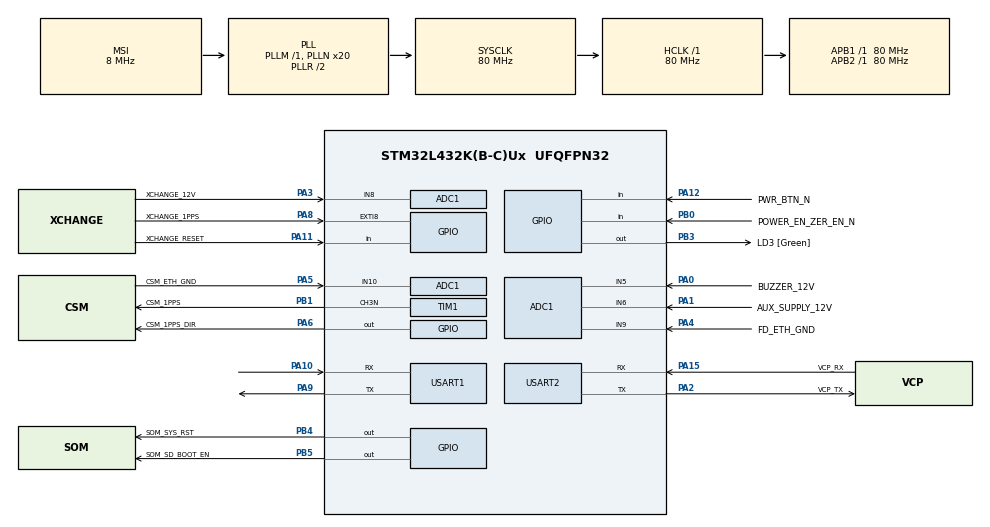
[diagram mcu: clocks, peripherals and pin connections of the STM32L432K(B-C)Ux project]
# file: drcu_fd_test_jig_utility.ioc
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ADC1.Channel-0\#ChannelRegularConversion=ADC_CHANNEL_5
ADC1.Channel-1\#ChannelRegularConversion=ADC_CHANNEL_6
ADC1.Channel-2\#ChannelRegularConversion=ADC_CHANNEL_8
ADC1.Channel-3\#ChannelRegularConversion=ADC_CHANNEL_9
ADC1.Channel-4\#ChannelRegularConversion=ADC_CHANNEL_10
ADC1.Channel-5\#ChannelRegularConversion=ADC_CHANNEL_VREFINT
ADC1.ContinuousConvMode=DISABLE
ADC1.NbrOfConversion=6
ADC1.NbrOfConversionFlag=1
ADC1.OffsetNumber-0\#ChannelRegularConversion=ADC_OFFSET_NONE
ADC1.OffsetNumber-1\#ChannelRegularConversion=ADC_OFFSET_NONE
ADC1.OffsetNumber-2\#ChannelRegularConversion=ADC_OFFSET_NONE
ADC1.OffsetNumber-3\#ChannelRegularConversion=ADC_OFFSET_NONE
ADC1.OffsetNumber-4\#ChannelRegularConversion=ADC_OFFSET_NONE
ADC1.OffsetNumber-5\#ChannelRegularConversion=ADC_OFFSET_NONE
ADC1.Rank-0\#ChannelRegularConversion=1
ADC1.Rank-1\#ChannelRegularConversion=2
ADC1.Rank-2\#ChannelRegularConversion=3
ADC1.Rank-3\#ChannelRegularConversion=4
ADC1.Rank-4\#ChannelRegularConversion=5
ADC1.Rank-5\#ChannelRegularConversion=6
ADC1.SamplingTime-0\#ChannelRegularConversion=ADC_SAMPLETIME_92CYCLES_5
ADC1.SamplingTime-1\#ChannelRegularConversion=ADC_SAMPLETIME_92CYCLES_5
ADC1.SamplingTime-2\#ChannelRegularConversion=ADC_SAMPLETIME_92CYCLES_5
ADC1.SamplingTime-3\#ChannelRegularConversion=ADC_SAMPLETIME_92CYCLES_5
ADC1.SamplingTime-4\#ChannelRegularConversion=ADC_SAMPLETIME_92CYCLES_5
ADC1.SamplingTime-5\#ChannelRegularConversion=ADC_SAMPLETIME_92CYCLES_5
ADC1.master=1
Dma.ADC1.2.Direction=DMA_PERIPH_TO_MEMORY
Dma.ADC1.2.Instance=DMA2_Channel3
Dma.ADC1.2.MemDataAlignment=DMA_MDATAALIGN_HALFWORD
Dma.ADC1.2.MemInc=DMA_MINC_ENABLE
Dma.ADC1.2.Mode=DMA_NORMAL
Dma.ADC1.2.PeriphDataAlignment=DMA_PDATAALIGN_HALFWORD
Dma.ADC1.2.PeriphInc=DMA_PINC_DISABLE
Dma.ADC1.2.Priority=DMA_PRIORITY_LOW
Dma.Request0=USART2_RX
Dma.Request1=USART2_TX
Dma.Request2=ADC1
Dma.Request3=USART1_RX
Dma.Request4=USART1_TX
Dma.USART1_RX.3.Direction=DMA_PERIPH_TO_MEMORY
Dma.USART1_RX.3.Instance=DMA1_Channel5
Dma.USART1_RX.3.MemDataAlignment=DMA_MDATAALIGN_BYTE
Dma.USART1_RX.3.MemInc=DMA_MINC_ENABLE
Dma.USART1_RX.3.Mode=DMA_CIRCULAR
Dma.USART1_RX.3.PeriphDataAlignment=DMA_PDATAALIGN_BYTE
Dma.USART1_RX.3.PeriphInc=DMA_PINC_DISABLE
Dma.USART1_RX.3.Priority=DMA_PRIORITY_HIGH
Dma.USART1_TX.4.Direction=DMA_MEMORY_TO_PERIPH
Dma.USART1_TX.4.Instance=DMA1_Channel4
Dma.USART1_TX.4.MemDataAlignment=DMA_MDATAALIGN_BYTE
Dma.USART1_TX.4.MemInc=DMA_MINC_ENABLE
Dma.USART1_TX.4.Mode=DMA_NORMAL
Dma.USART1_TX.4.PeriphDataAlignment=DMA_PDATAALIGN_BYTE
Dma.USART1_TX.4.PeriphInc=DMA_PINC_DISABLE
Dma.USART1_TX.4.Priority=DMA_PRIORITY_MEDIUM
Dma.USART2_RX.0.Direction=DMA_PERIPH_TO_MEMORY
Dma.USART2_RX.0.Instance=DMA1_Channel6
Dma.USART2_RX.0.MemDataAlignment=DMA_MDATAALIGN_BYTE
Dma.USART2_RX.0.MemInc=DMA_MINC_ENABLE
Dma.USART2_RX.0.Mode=DMA_CIRCULAR
Dma.USART2_RX.0.PeriphDataAlignment=DMA_PDATAALIGN_BYTE
Dma.USART2_RX.0.PeriphInc=DMA_PINC_DISABLE
Dma.USART2_RX.0.Priority=DMA_PRIORITY_HIGH
Dma.USART2_TX.1.Direction=DMA_MEMORY_TO_PERIPH
Dma.USART2_TX.1.Instance=DMA1_Channel7
Dma.USART2_TX.1.MemDataAlignment=DMA_MDATAALIGN_BYTE
Dma.USART2_TX.1.MemInc=DMA_MINC_ENABLE
Dma.USART2_TX.1.Mode=DMA_NORMAL
Dma.USART2_TX.1.PeriphDataAlignment=DMA_PDATAALIGN_BYTE
Dma.USART2_TX.1.PeriphInc=DMA_PINC_DISABLE
Dma.USART2_TX.1.Priority=DMA_PRIORITY_MEDIUM
FREERTOS.BinarySemaphores01=uart1TxSemaphore,Static,uart1TxSemaphoreControlBlock;uart2TxSemaphore,Static,uart2TxSemaphoreControlBlock;iotAdcSemaphore,Static,iotAdcSemaphoreControlBlock
FREERTOS.Queues01=serialCmdRxData,128,uint8_t,0,Static,serialCmdRxDataBuffer,serialCmdRxDataControlBlock;serialCmdTxData,1024,uint8_t,0,Static,serialCmdTxDataBuffer,serialCmdTxDataControlBlock;serialEchoRxData,128,uint8_t,0,Static,serialEchoRxDataBuffer,serialEchoRxDataControlBlock;serialEchoTxData,128,uint8_t,0,Static,serialEchoTxDataBuffer,serialEchoTxDataControlBlock
FREERTOS.Tasks01=defaultTask,0,128,StartDefaultTask,Default,NULL,Static,defaultTaskBuffer,defaultTaskControlBlock;serialBufferTask,0,256,sbt_SerialBufferTask,As external,NULL,Static,serialBufferTaskBuffer,serialBufferTaskControlBlock;ioTask,-2,256,iot_IoTask,As external,NULL,Static,ioTaskBuffer,ioTaskControlBlock;serialCmdTask,0,512,sct_SerialCmdTask,As external,NULL,Static,serialCmdTaskBuffer,serialCmdTaskControlBlock
FREERTOS.configMAX_TASK_NAME_LEN=32
FREERTOS.configTOTAL_HEAP_SIZE=1024
Mcu.Family=STM32L4
Mcu.Name=STM32L432K(B-C)Ux
Mcu.Package=UFQFPN32
NVIC.DMA1_Channel4_IRQn=true\:0\:0\:false\:false\:true\:true\:false\:true
NVIC.DMA1_Channel5_IRQn=true\:0\:0\:false\:false\:true\:true\:false\:true
NVIC.DMA1_Channel6_IRQn=true\:5\:0\:true\:false\:true\:true\:false\:false
NVIC.DMA1_Channel7_IRQn=true\:5\:0\:true\:false\:true\:true\:false\:false
NVIC.DMA2_Channel3_IRQn=true\:5\:0\:true\:false\:true\:true\:false\:true
NVIC.EXTI9_5_IRQn=true\:5\:0\:true\:false\:true\:false\:true\:true
NVIC.PriorityGroup=NVIC_PRIORITYGROUP_4
NVIC.TIM1_BRK_TIM15_IRQn=true\:0\:0\:false\:false\:true\:false\:false\:true
NVIC.TIM1_UP_TIM16_IRQn=true\:5\:0\:true\:false\:true\:false\:false\:true
NVIC.TimeBase=TIM1_BRK_TIM15_IRQn
NVIC.TimeBaseIP=TIM15
NVIC.USART1_IRQn=true\:5\:0\:true\:false\:true\:true\:true\:true
NVIC.USART2_IRQn=true\:5\:0\:true\:false\:true\:false\:true\:false
PA0.GPIO_Label=BUZZER_12V
PA0.Signal=ADCx_IN5
PA1.GPIO_Label=AUX_SUPPLY_12V
PA1.Signal=ADCx_IN6
PA10.Mode=Asynchronous
PA10.Signal=USART1_RX
PA11.GPIO_Label=XCHANGE_RESET
PA11.Signal=GPIO_Input
PA12.GPIO_Label=PWR_BTN_N
PA12.Signal=GPIO_Input
PA13\ (JTMS-SWDIO).GPIO_Label=SWDIO
PA13\ (JTMS-SWDIO).Mode=Serial_Wire
PA13\ (JTMS-SWDIO).Signal=SYS_JTMS-SWDIO
PA14\ (JTCK-SWCLK).GPIO_Label=SWCLK
PA14\ (JTCK-SWCLK).Mode=Serial_Wire
PA14\ (JTCK-SWCLK).Signal=SYS_JTCK-SWCLK
PA15\ (JTDI).GPIO_Label=VCP_RX
PA15\ (JTDI).Mode=Asynchronous
PA15\ (JTDI).Signal=USART2_RX
PA2.GPIO_Label=VCP_TX
PA2.Mode=Asynchronous
PA2.Signal=USART2_TX
PA3.GPIO_Label=XCHANGE_12V
PA3.Signal=ADCx_IN8
PA4.GPIO_Label=FD_ETH_GND
PA4.Signal=ADCx_IN9
PA5.GPIO_Label=CSM_ETH_GND
PA5.Signal=ADCx_IN10
PA6.GPIO_Label=CSM_1PPS_DIR
PA6.PinState=GPIO_PIN_SET
PA6.Signal=GPIO_Output
PA8.GPIO_Label=XCHANGE_1PPS
PA8.Signal=GPXTI8
PA9.Mode=Asynchronous
PA9.Signal=USART1_TX
PB0.GPIO_Label=POWER_EN_ZER_EN_N
PB0.Signal=GPIO_Input
PB1.GPIO_Label=CSM_1PPS
PB1.Mode=PWM Generation3 CH3N
PB1.Signal=TIM1_CH3N
PB3\ (JTDO-TRACESWO).GPIO_Label=LD3 [Green]
PB3\ (JTDO-TRACESWO).Signal=GPIO_Output
PB4\ (NJTRST).GPIO_Label=SOM_SYS_RST
PB4\ (NJTRST).PinState=GPIO_PIN_SET
PB4\ (NJTRST).Signal=GPIO_Output
PB5.GPIO_Label=SOM_SD_BOOT_EN
PB5.Signal=GPIO_Output
PC14-OSC32_IN\ (PC14).Mode=LSE-External-Oscillator
PC14-OSC32_IN\ (PC14).Signal=RCC_OSC32_IN
PC15-OSC32_OUT\ (PC15).Mode=LSE-External-Oscillator
PC15-OSC32_OUT\ (PC15).Signal=RCC_OSC32_OUT
ProjectManager.HeapSize=0x200
ProjectManager.StackSize=0x400
ProjectManager.TargetToolchain=STM32CubeIDE
RCC.ADCFreq_Value=32000000
RCC.AHBFreq_Value=80000000
RCC.APB1Freq_Value=80000000
RCC.APB1TimFreq_Value=80000000
RCC.APB2Freq_Value=80000000
RCC.APB2TimFreq_Value=80000000
RCC.CortexFreq_Value=80000000
RCC.HCLKFreq_Value=80000000
RCC.HSE_VALUE=8000000
RCC.HSI16_VALUE=16000000
RCC.HSI48_VALUE=48000000
RCC.HSI_VALUE=16000000
RCC.MSIClockRange=RCC_MSIRANGE_7
RCC.MSI_VALUE=8000000
RCC.PLLMUL=RCC_PLLMUL_4
RCC.PLLN=20
RCC.SYSCLKFreq_VALUE=80000000
RCC.SYSCLKSource=RCC_SYSCLKSOURCE_PLLCLK
RCC.USBFreq_Value=32000000
RCC.VCOOutputFreq_Value=160000000
SH.ADCx_IN10.0=ADC1_IN10,IN10-Single-Ended
SH.ADCx_IN5.0=ADC1_IN5,IN5-Single-Ended
SH.ADCx_IN6.0=ADC1_IN6,IN6-Single-Ended
SH.ADCx_IN8.0=ADC1_IN8,IN8-Single-Ended
SH.ADCx_IN9.0=ADC1_IN9,IN9-Single-Ended
TIM1.Channel-PWM\ Generation3\ CH3N=TIM_CHANNEL_3
TIM1.OCFastMode_PWM-PWM\ Generation3\ CH3N=TIM_OCFAST_ENABLE
TIM1.Period=10000
TIM1.Prescaler=8000
TIM1.Pulse-PWM\ Generation3\ CH3N=100
USART1.VirtualMode-Asynchronous=VM_ASYNC
USART2.VirtualMode-Asynchronous=VM_ASYNC
VP_ADC1_Vref_Input.Mode=IN-Vrefint
VP_FREERTOS_VS_CMSIS_V1.Mode=CMSIS_V1
VP_SYS_VS_tim15.Mode=TIM15
board=NUCLEO-L432KC

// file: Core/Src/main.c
/* USER CODE BEGIN Header */
/**
  ******************************************************************************
  * @file           : main.c
  * @brief          : Main program body
  ******************************************************************************
  * @attention
  *
  * <h2><center>&copy; Copyright (c) 2023 STMicroelectronics.
  * All rights reserved.</center></h2>
  *
  * This software component is licensed by ST under BSD 3-Clause license,
  * the "License"; You may not use this file except in compliance with the
  * License. You may obtain a copy of the License at:
  *                        opensource.org/licenses/BSD-3-Clause
  *
  ******************************************************************************
  */
/* USER CODE END Header */
#include "main.h"
#include "cmsis_os.h"

/* USER CODE BEGIN Includes */
#include <string.h>
#include "io_task.h"
#include "serial_buffer_task.h"
#include "serial_cmd_task.h"
/* USER CODE END Includes */

TIM_HandleTypeDef htim1;

UART_HandleTypeDef huart1;
DMA_HandleTypeDef hdma_usart1_rx;
DMA_HandleTypeDef hdma_usart1_tx;

osThreadId defaultTaskHandle;
uint32_t defaultTaskBuffer[ 128 ];
osStaticThreadDef_t defaultTaskControlBlock;
osThreadId serialBufferTaskHandle;
uint32_t serialBufferTaskBuffer[ 256 ];
osStaticThreadDef_t serialBufferTaskControlBlock;
osThreadId ioTaskHandle;
uint32_t ioTaskBuffer[ 256 ];
osStaticThreadDef_t ioTaskControlBlock;
osThreadId serialCmdTaskHandle;
uint32_t serialCmdTaskBuffer[ 512 ];
osStaticThreadDef_t serialCmdTaskControlBlock;
osMessageQId serialCmdRxDataHandle;
uint8_t serialCmdRxDataBuffer[ 128 * sizeof( uint8_t ) ];
osStaticMessageQDef_t serialCmdRxDataControlBlock;
osMessageQId serialCmdTxDataHandle;
uint8_t serialCmdTxDataBuffer[ 1024 * sizeof( uint8_t ) ];
osStaticMessageQDef_t serialCmdTxDataControlBlock;
osMessageQId serialEchoRxDataHandle;
uint8_t serialEchoRxDataBuffer[ 128 * sizeof( uint8_t ) ];
osStaticMessageQDef_t serialEchoRxDataControlBlock;
osMessageQId serialEchoTxDataHandle;
uint8_t serialEchoTxDataBuffer[ 128 * sizeof( uint8_t ) ];
osStaticMessageQDef_t serialEchoTxDataControlBlock;
osSemaphoreId uart1TxSemaphoreHandle;
osStaticSemaphoreDef_t uart1TxSemaphoreControlBlock;
osSemaphoreId uart2TxSemaphoreHandle;
osStaticSemaphoreDef_t uart2TxSemaphoreControlBlock;
osSemaphoreId iotAdcSemaphoreHandle;
osStaticSemaphoreDef_t iotAdcSemaphoreControlBlock;

void SystemClock_Config(void);
static void MX_GPIO_Init(void);
static void MX_DMA_Init(void);
static void MX_ADC1_Init(void);
static void MX_TIM1_Init(void);
static void MX_USART2_UART_Init(void);
static void MX_USART1_UART_Init(void);
void StartDefaultTask(void const * argument);
extern void sbt_SerialBufferTask(void const * argument);
extern void iot_IoTask(void const * argument);
extern void sct_SerialCmdTask(void const * argument);

int main(void)
{
  /* USER CODE BEGIN 1 */
  iot_Init_t iot_init_data = {0};
  sbt_Init_t sbt_init_data = {0};
  sct_Init_t sct_init_data = {0};
  /* USER CODE END 1 */

  /* MCU Configuration--------------------------------------------------------*/

  /* Reset of all peripherals, Initializes the Flash interface and the Systick. */
  HAL_Init();

  /* Configure the system clock */
  SystemClock_Config();

  /* Initialize all configured peripherals */
  MX_GPIO_Init();
  MX_DMA_Init();
  MX_ADC1_Init();
  MX_TIM1_Init();
  MX_USART2_UART_Init();
  MX_USART1_UART_Init();

  /* Create the semaphores(s) */
  /* definition and creation of uart1TxSemaphore */
  osSemaphoreStaticDef(uart1TxSemaphore, &uart1TxSemaphoreControlBlock);
  uart1TxSemaphoreHandle = osSemaphoreCreate(osSemaphore(uart1TxSemaphore), 1);

  /* definition and creation of uart2TxSemaphore */
  osSemaphoreStaticDef(uart2TxSemaphore, &uart2TxSemaphoreControlBlock);
  uart2TxSemaphoreHandle = osSemaphoreCreate(osSemaphore(uart2TxSemaphore), 1);

  /* definition and creation of iotAdcSemaphore */
  osSemaphoreStaticDef(iotAdcSemaphore, &iotAdcSemaphoreControlBlock);
  iotAdcSemaphoreHandle = osSemaphoreCreate(osSemaphore(iotAdcSemaphore), 1);

  /* Create the queue(s) */
  /* definition and creation of serialCmdRxData */
  osMessageQStaticDef(serialCmdRxData, 128, uint8_t, serialCmdRxDataBuffer, &serialCmdRxDataControlBlock);
  serialCmdRxDataHandle = osMessageCreate(osMessageQ(serialCmdRxData), NULL);

  /* definition and creation of serialCmdTxData */
  osMessageQStaticDef(serialCmdTxData, 1024, uint8_t, serialCmdTxDataBuffer, &serialCmdTxDataControlBlock);
  serialCmdTxDataHandle = osMessageCreate(osMessageQ(serialCmdTxData), NULL);

  /* definition and creation of serialEchoRxData */
  osMessageQStaticDef(serialEchoRxData, 128, uint8_t, serialEchoRxDataBuffer, &serialEchoRxDataControlBlock);
  serialEchoRxDataHandle = osMessageCreate(osMessageQ(serialEchoRxData), NULL);

  /* definition and creation of serialEchoTxData */
  osMessageQStaticDef(serialEchoTxData, 128, uint8_t, serialEchoTxDataBuffer, &serialEchoTxDataControlBlock);
  serialEchoTxDataHandle = osMessageCreate(osMessageQ(serialEchoTxData), NULL);

  /* Create the thread(s) */
  /* definition and creation of defaultTask */
  osThreadStaticDef(defaultTask, StartDefaultTask, osPriorityNormal, 0, 128, defaultTaskBuffer, &defaultTaskControlBlock);
  defaultTaskHandle = osThreadCreate(osThread(defaultTask), NULL);

  /* definition and creation of serialBufferTask */
  osThreadStaticDef(serialBufferTask, sbt_SerialBufferTask, osPriorityNormal, 0, 256, serialBufferTaskBuffer, &serialBufferTaskControlBlock);
  serialBufferTaskHandle = osThreadCreate(osThread(serialBufferTask), NULL);

  /* definition and creation of ioTask */
  osThreadStaticDef(ioTask, iot_IoTask, osPriorityLow, 0, 256, ioTaskBuffer, &ioTaskControlBlock);
  ioTaskHandle = osThreadCreate(osThread(ioTask), NULL);

  /* definition and creation of serialCmdTask */
  osThreadStaticDef(serialCmdTask, sct_SerialCmdTask, osPriorityNormal, 0, 512, serialCmdTaskBuffer, &serialCmdTaskControlBlock);
  serialCmdTaskHandle = osThreadCreate(osThread(serialCmdTask), NULL);

  /* USER CODE BEGIN RTOS_THREADS */
  /* add threads, ... */
  iot_init_data.pps_out_htim = &htim1;
  iot_init_data.pps_out_channel = TIM_CHANNEL_3;
  iot_init_data.pps_dir_gpio_port = CSM_1PPS_DIR_GPIO_Port;
  iot_init_data.pps_dir_gpio_pin = CSM_1PPS_DIR_Pin;
  iot_init_data.xchange_1pps_gpio_pin = XCHANGE_1PPS_Pin;
  iot_init_data.xchange_1pps_gpio_irq = XCHANGE_1PPS_EXTI_IRQn;
  iot_init_data.adc_device = ADC1;
  iot_init_data.adc_dma_device = DMA2;
  iot_init_data.adc_dma_channel = LL_DMA_CHANNEL_3;
  iot_init_data.adc_semaphore = iotAdcSemaphoreHandle;
  iot_init_data.gpi_signals[iot_gpi_pwr_btn_n].port = PWR_BTN_N_GPIO_Port;
  iot_init_data.gpi_signals[iot_gpi_pwr_btn_n].pin = PWR_BTN_N_Pin;
  strncpy(iot_init_data.gpi_signals[iot_gpi_pwr_btn_n].name , "POWER_BUTTON_N", IOT_MAX_STR_LEN - 1);
  iot_init_data.gpi_signals[iot_gpi_pwr_en_zer_n].port = POWER_EN_ZER_EN_N_GPIO_Port;
  iot_init_data.gpi_signals[iot_gpi_pwr_en_zer_n].pin = POWER_EN_ZER_EN_N_Pin;
  strncpy(iot_init_data.gpi_signals[iot_gpi_pwr_en_zer_n].name, "POWER_ENABLE_ZEROISE_N", IOT_MAX_STR_LEN - 1);
  iot_init_data.gpi_signals[iot_gpi_xchange_reset].port = XCHANGE_RESET_GPIO_Port;
  iot_init_data.gpi_signals[iot_gpi_xchange_reset].pin = XCHANGE_RESET_Pin;
  strncpy(iot_init_data.gpi_signals[iot_gpi_xchange_reset].name, "XCHANGE_RESET", IOT_MAX_STR_LEN - 1);
  iot_init_data.gpo_signals[iot_gpo_csm_1pps_dir].port = CSM_1PPS_DIR_GPIO_Port;
  iot_init_data.gpo_signals[iot_gpo_csm_1pps_dir].pin = CSM_1PPS_DIR_Pin;
  strncpy(iot_init_data.gpo_signals[iot_gpo_csm_1pps_dir].name, "CSM_1PPS_DIRECTION", IOT_MAX_STR_LEN - 1);
  iot_init_data.gpo_signals[iot_gpo_som_sys_rst].port = SOM_SYS_RST_GPIO_Port;
  iot_init_data.gpo_signals[iot_gpo_som_sys_rst].pin = SOM_SYS_RST_Pin;
  strncpy(iot_init_data.gpo_signals[iot_gpo_som_sys_rst].name, "SOM_RESET", IOT_MAX_STR_LEN - 1);
  iot_init_data.gpo_signals[iot_gpo_som_sd_boot_en].port = SOM_SD_BOOT_EN_GPIO_Port;
  iot_init_data.gpo_signals[iot_gpo_som_sd_boot_en].pin = SOM_SD_BOOT_EN_Pin;
  strncpy(iot_init_data.gpo_signals[iot_gpo_som_sd_boot_en].name, "SOM_SD_BOOT_ENABLE", IOT_MAX_STR_LEN - 1);
  iot_InitTask(iot_init_data);

  sbt_init_data.no_uarts					= 1;
  sbt_init_data.uarts[0].huart 				= USART2;
  sbt_init_data.uarts[0].dma_device 		= DMA1;
  sbt_init_data.uarts[0].rx_dma_channel 	= LL_DMA_CHANNEL_6;
  sbt_init_data.uarts[0].rx_data_queue	 	= serialCmdRxDataHandle;
  sbt_init_data.uarts[0].tx_dma_channel 	= LL_DMA_CHANNEL_7;
  sbt_init_data.uarts[0].tx_semaphore 		= uart2TxSemaphoreHandle;
  sbt_init_data.uarts[0].tx_data_queue 		= serialCmdTxDataHandle;
  sbt_InitTask(sbt_init_data);

  sct_init_data.tx_data_queue	= serialCmdTxDataHandle;
  sct_init_data.rx_data_queue	= serialCmdRxDataHandle;
  sct_InitTask(sct_init_data);
  /* USER CODE END RTOS_THREADS */

  /* Start scheduler */
  osKernelStart();

  /* We should never get here as control is now taken by the scheduler */
  /* Infinite loop */
  while (1)
  {

  }
}

void SystemClock_Config(void)
{
  RCC_OscInitTypeDef RCC_OscInitStruct = {0};
  RCC_ClkInitTypeDef RCC_ClkInitStruct = {0};
  RCC_PeriphCLKInitTypeDef PeriphClkInit = {0};

  /** Configure LSE Drive Capability
  */
  HAL_PWR_EnableBkUpAccess();
  __HAL_RCC_LSEDRIVE_CONFIG(RCC_LSEDRIVE_LOW);
  /** Initializes the RCC Oscillators according to the specified parameters
  * in the RCC_OscInitTypeDef structure.
  */
  RCC_OscInitStruct.OscillatorType = RCC_OSCILLATORTYPE_LSE|RCC_OSCILLATORTYPE_MSI;
  RCC_OscInitStruct.LSEState = RCC_LSE_ON;
  RCC_OscInitStruct.MSIState = RCC_MSI_ON;
  RCC_OscInitStruct.MSICalibrationValue = 0;
  RCC_OscInitStruct.MSIClockRange = RCC_MSIRANGE_7;
  RCC_OscInitStruct.PLL.PLLState = RCC_PLL_ON;
  RCC_OscInitStruct.PLL.PLLSource = RCC_PLLSOURCE_MSI;
  RCC_OscInitStruct.PLL.PLLM = 1;
  RCC_OscInitStruct.PLL.PLLN = 20;
  RCC_OscInitStruct.PLL.PLLP = RCC_PLLP_DIV7;
  RCC_OscInitStruct.PLL.PLLQ = RCC_PLLQ_DIV2;
  RCC_OscInitStruct.PLL.PLLR = RCC_PLLR_DIV2;
  if (HAL_RCC_OscConfig(&RCC_OscInitStruct) != HAL_OK)
  {
    Error_Handler();
  }
  /** Initializes the CPU, AHB and APB buses clocks
  */
  RCC_ClkInitStruct.ClockType = RCC_CLOCKTYPE_HCLK|RCC_CLOCKTYPE_SYSCLK
                              |RCC_CLOCKTYPE_PCLK1|RCC_CLOCKTYPE_PCLK2;
  RCC_ClkInitStruct.SYSCLKSource = RCC_SYSCLKSOURCE_PLLCLK;
  RCC_ClkInitStruct.AHBCLKDivider = RCC_SYSCLK_DIV1;
  RCC_ClkInitStruct.APB1CLKDivider = RCC_HCLK_DIV1;
  RCC_ClkInitStruct.APB2CLKDivider = RCC_HCLK_DIV1;

  if (HAL_RCC_ClockConfig(&RCC_ClkInitStruct, FLASH_LATENCY_4) != HAL_OK)
  {
    Error_Handler();
  }
  PeriphClkInit.PeriphClockSelection = RCC_PERIPHCLK_USART1|RCC_PERIPHCLK_USART2
                              |RCC_PERIPHCLK_ADC;
  PeriphClkInit.Usart1ClockSelection = RCC_USART1CLKSOURCE_PCLK2;
  PeriphClkInit.Usart2ClockSelection = RCC_USART2CLKSOURCE_PCLK1;
  PeriphClkInit.AdcClockSelection = RCC_ADCCLKSOURCE_PLLSAI1;
  PeriphClkInit.PLLSAI1.PLLSAI1Source = RCC_PLLSOURCE_MSI;
  PeriphClkInit.PLLSAI1.PLLSAI1M = 1;
  PeriphClkInit.PLLSAI1.PLLSAI1N = 8;
  PeriphClkInit.PLLSAI1.PLLSAI1P = RCC_PLLP_DIV7;
  PeriphClkInit.PLLSAI1.PLLSAI1Q = RCC_PLLQ_DIV2;
  PeriphClkInit.PLLSAI1.PLLSAI1R = RCC_PLLR_DIV2;
  PeriphClkInit.PLLSAI1.PLLSAI1ClockOut = RCC_PLLSAI1_ADC1CLK;
  if (HAL_RCCEx_PeriphCLKConfig(&PeriphClkInit) != HAL_OK)
  {
    Error_Handler();
  }
  /** Configure the main internal regulator output voltage
  */
  if (HAL_PWREx_ControlVoltageScaling(PWR_REGULATOR_VOLTAGE_SCALE1) != HAL_OK)
  {
    Error_Handler();
  }
  /** Enable MSI Auto calibration
  */
  HAL_RCCEx_EnableMSIPLLMode();
}

static void MX_ADC1_Init(void)
{

  LL_ADC_InitTypeDef ADC_InitStruct = {0};
  LL_ADC_REG_InitTypeDef ADC_REG_InitStruct = {0};
  LL_ADC_CommonInitTypeDef ADC_CommonInitStruct = {0};

  LL_GPIO_InitTypeDef GPIO_InitStruct = {0};

  /* Peripheral clock enable */
  LL_AHB2_GRP1_EnableClock(LL_AHB2_GRP1_PERIPH_ADC);

  LL_AHB2_GRP1_EnableClock(LL_AHB2_GRP1_PERIPH_GPIOA);
  /**ADC1 GPIO Configuration
  PA0   ------> ADC1_IN5
  PA1   ------> ADC1_IN6
  PA3   ------> ADC1_IN8
  PA4   ------> ADC1_IN9
  PA5   ------> ADC1_IN10
  */
  GPIO_InitStruct.Pin = LL_GPIO_PIN_0|LL_GPIO_PIN_1|LL_GPIO_PIN_3|LL_GPIO_PIN_4
                          |LL_GPIO_PIN_5;
  GPIO_InitStruct.Mode = LL_GPIO_MODE_ANALOG;
  GPIO_InitStruct.Pull = LL_GPIO_PULL_NO;
  LL_GPIO_Init(GPIOA, &GPIO_InitStruct);

  /* ADC1 DMA Init */

  /* ADC1 Init */
  LL_DMA_SetPeriphRequest(DMA2, LL_DMA_CHANNEL_3, LL_DMA_REQUEST_0);

  LL_DMA_SetDataTransferDirection(DMA2, LL_DMA_CHANNEL_3, LL_DMA_DIRECTION_PERIPH_TO_MEMORY);

  LL_DMA_SetChannelPriorityLevel(DMA2, LL_DMA_CHANNEL_3, LL_DMA_PRIORITY_LOW);

  LL_DMA_SetMode(DMA2, LL_DMA_CHANNEL_3, LL_DMA_MODE_NORMAL);

  LL_DMA_SetPeriphIncMode(DMA2, LL_DMA_CHANNEL_3, LL_DMA_PERIPH_NOINCREMENT);

  LL_DMA_SetMemoryIncMode(DMA2, LL_DMA_CHANNEL_3, LL_DMA_MEMORY_INCREMENT);

  LL_DMA_SetPeriphSize(DMA2, LL_DMA_CHANNEL_3, LL_DMA_PDATAALIGN_HALFWORD);

  LL_DMA_SetMemorySize(DMA2, LL_DMA_CHANNEL_3, LL_DMA_MDATAALIGN_HALFWORD);

  /** Common config
  */
  ADC_InitStruct.Resolution = LL_ADC_RESOLUTION_12B;
  ADC_InitStruct.DataAlignment = LL_ADC_DATA_ALIGN_RIGHT;
  ADC_InitStruct.LowPowerMode = LL_ADC_LP_MODE_NONE;
  LL_ADC_Init(ADC1, &ADC_InitStruct);
  ADC_REG_InitStruct.TriggerSource = LL_ADC_REG_TRIG_SOFTWARE;
  ADC_REG_InitStruct.SequencerLength = LL_ADC_REG_SEQ_SCAN_ENABLE_6RANKS;
  ADC_REG_InitStruct.SequencerDiscont = LL_ADC_REG_SEQ_DISCONT_DISABLE;
  ADC_REG_InitStruct.ContinuousMode = LL_ADC_REG_CONV_SINGLE;
  ADC_REG_InitStruct.DMATransfer = LL_ADC_REG_DMA_TRANSFER_LIMITED;
  ADC_REG_InitStruct.Overrun = LL_ADC_REG_OVR_DATA_PRESERVED;
  LL_ADC_REG_Init(ADC1, &ADC_REG_InitStruct);
  LL_ADC_SetCommonPathInternalCh(__LL_ADC_COMMON_INSTANCE(ADC1), LL_ADC_PATH_INTERNAL_VREFINT);

   /* Disable ADC deep power down (enabled by default after reset state) */
   LL_ADC_DisableDeepPowerDown(ADC1);
   /* Enable ADC internal voltage regulator */
   LL_ADC_EnableInternalRegulator(ADC1);
   /* Delay for ADC internal voltage regulator stabilization. */
   /* Compute number of CPU cycles to wait for, from delay in us. */
   /* Note: Variable divided by 2 to compensate partially */
   /* CPU processing cycles (depends on compilation optimization). */
   /* Note: If system core clock frequency is below 200kHz, wait time */
   /* is only a few CPU processing cycles. */
   uint32_t wait_loop_index;
   wait_loop_index = ((LL_ADC_DELAY_INTERNAL_REGUL_STAB_US * (SystemCoreClock / (100000 * 2))) / 10);
   while(wait_loop_index != 0)
     {
   wait_loop_index--;
     }
  ADC_CommonInitStruct.CommonClock = LL_ADC_CLOCK_ASYNC_DIV1;
  LL_ADC_CommonInit(__LL_ADC_COMMON_INSTANCE(ADC1), &ADC_CommonInitStruct);
  /** Configure Regular Channel
  */
  LL_ADC_REG_SetSequencerRanks(ADC1, LL_ADC_REG_RANK_1, LL_ADC_CHANNEL_5);
  LL_ADC_SetChannelSamplingTime(ADC1, LL_ADC_CHANNEL_5, LL_ADC_SAMPLINGTIME_92CYCLES_5);
  LL_ADC_SetChannelSingleDiff(ADC1, LL_ADC_CHANNEL_5, LL_ADC_SINGLE_ENDED);
  /** Configure Regular Channel
  */
  LL_ADC_REG_SetSequencerRanks(ADC1, LL_ADC_REG_RANK_2, LL_ADC_CHANNEL_6);
  LL_ADC_SetChannelSamplingTime(ADC1, LL_ADC_CHANNEL_6, LL_ADC_SAMPLINGTIME_92CYCLES_5);
  LL_ADC_SetChannelSingleDiff(ADC1, LL_ADC_CHANNEL_6, LL_ADC_SINGLE_ENDED);
  /** Configure Regular Channel
  */
  LL_ADC_REG_SetSequencerRanks(ADC1, LL_ADC_REG_RANK_3, LL_ADC_CHANNEL_8);
  LL_ADC_SetChannelSamplingTime(ADC1, LL_ADC_CHANNEL_8, LL_ADC_SAMPLINGTIME_92CYCLES_5);
  LL_ADC_SetChannelSingleDiff(ADC1, LL_ADC_CHANNEL_8, LL_ADC_SINGLE_ENDED);
  /** Configure Regular Channel
  */
  LL_ADC_REG_SetSequencerRanks(ADC1, LL_ADC_REG_RANK_4, LL_ADC_CHANNEL_9);
  LL_ADC_SetChannelSamplingTime(ADC1, LL_ADC_CHANNEL_9, LL_ADC_SAMPLINGTIME_92CYCLES_5);
  LL_ADC_SetChannelSingleDiff(ADC1, LL_ADC_CHANNEL_9, LL_ADC_SINGLE_ENDED);
  /** Configure Regular Channel
  */
  LL_ADC_REG_SetSequencerRanks(ADC1, LL_ADC_REG_RANK_5, LL_ADC_CHANNEL_10);
  LL_ADC_SetChannelSamplingTime(ADC1, LL_ADC_CHANNEL_10, LL_ADC_SAMPLINGTIME_92CYCLES_5);
  LL_ADC_SetChannelSingleDiff(ADC1, LL_ADC_CHANNEL_10, LL_ADC_SINGLE_ENDED);
  /** Configure Regular Channel
  */
  LL_ADC_REG_SetSequencerRanks(ADC1, LL_ADC_REG_RANK_6, LL_ADC_PATH_INTERNAL_VREFINT);
  LL_ADC_SetChannelSamplingTime(ADC1, LL_ADC_PATH_INTERNAL_VREFINT, LL_ADC_SAMPLINGTIME_92CYCLES_5);
  LL_ADC_SetChannelSingleDiff(ADC1, LL_ADC_PATH_INTERNAL_VREFINT, LL_ADC_SINGLE_ENDED);

}

static void MX_TIM1_Init(void)
{

  TIM_MasterConfigTypeDef sMasterConfig = {0};
  TIM_OC_InitTypeDef sConfigOC = {0};
  TIM_BreakDeadTimeConfigTypeDef sBreakDeadTimeConfig = {0};

  htim1.Instance = TIM1;
  htim1.Init.Prescaler = 8000;
  htim1.Init.CounterMode = TIM_COUNTERMODE_UP;
  htim1.Init.Period = 10000;
  htim1.Init.ClockDivision = TIM_CLOCKDIVISION_DIV1;
  htim1.Init.RepetitionCounter = 0;
  htim1.Init.AutoReloadPreload = TIM_AUTORELOAD_PRELOAD_DISABLE;
  if (HAL_TIM_PWM_Init(&htim1) != HAL_OK)
  {
    Error_Handler();
  }
  sMasterConfig.MasterOutputTrigger = TIM_TRGO_RESET;
  sMasterConfig.MasterOutputTrigger2 = TIM_TRGO2_RESET;
  sMasterConfig.MasterSlaveMode = TIM_MASTERSLAVEMODE_DISABLE;
  if (HAL_TIMEx_MasterConfigSynchronization(&htim1, &sMasterConfig) != HAL_OK)
  {
    Error_Handler();
  }
  sConfigOC.OCMode = TIM_OCMODE_PWM1;
  sConfigOC.Pulse = 100;
  sConfigOC.OCPolarity = TIM_OCPOLARITY_HIGH;
  sConfigOC.OCNPolarity = TIM_OCNPOLARITY_HIGH;
  sConfigOC.OCFastMode = TIM_OCFAST_ENABLE;
  sConfigOC.OCIdleState = TIM_OCIDLESTATE_RESET;
  sConfigOC.OCNIdleState = TIM_OCNIDLESTATE_RESET;
  if (HAL_TIM_PWM_ConfigChannel(&htim1, &sConfigOC, TIM_CHANNEL_3) != HAL_OK)
  {
    Error_Handler();
  }
  sBreakDeadTimeConfig.OffStateRunMode = TIM_OSSR_DISABLE;
  sBreakDeadTimeConfig.OffStateIDLEMode = TIM_OSSI_DISABLE;
  sBreakDeadTimeConfig.LockLevel = TIM_LOCKLEVEL_OFF;
  sBreakDeadTimeConfig.DeadTime = 0;
  sBreakDeadTimeConfig.BreakState = TIM_BREAK_DISABLE;
  sBreakDeadTimeConfig.BreakPolarity = TIM_BREAKPOLARITY_HIGH;
  sBreakDeadTimeConfig.BreakFilter = 0;
  sBreakDeadTimeConfig.Break2State = TIM_BREAK2_DISABLE;
  sBreakDeadTimeConfig.Break2Polarity = TIM_BREAK2POLARITY_HIGH;
  sBreakDeadTimeConfig.Break2Filter = 0;
  sBreakDeadTimeConfig.AutomaticOutput = TIM_AUTOMATICOUTPUT_DISABLE;
  if (HAL_TIMEx_ConfigBreakDeadTime(&htim1, &sBreakDeadTimeConfig) != HAL_OK)
  {
    Error_Handler();
  }
  HAL_TIM_MspPostInit(&htim1);

}

static void MX_USART1_UART_Init(void)
{

  huart1.Instance = USART1;
  huart1.Init.BaudRate = 115200;
  huart1.Init.WordLength = UART_WORDLENGTH_8B;
  huart1.Init.StopBits = UART_STOPBITS_1;
  huart1.Init.Parity = UART_PARITY_NONE;
  huart1.Init.Mode = UART_MODE_TX_RX;
  huart1.Init.HwFlowCtl = UART_HWCONTROL_NONE;
  huart1.Init.OverSampling = UART_OVERSAMPLING_16;
  huart1.Init.OneBitSampling = UART_ONE_BIT_SAMPLE_DISABLE;
  huart1.AdvancedInit.AdvFeatureInit = UART_ADVFEATURE_NO_INIT;
  if (HAL_UART_Init(&huart1) != HAL_OK)
  {
    Error_Handler();
  }

}

static void MX_USART2_UART_Init(void)
{

  LL_USART_InitTypeDef USART_InitStruct = {0};

  LL_GPIO_InitTypeDef GPIO_InitStruct = {0};

  /* Peripheral clock enable */
  LL_APB1_GRP1_EnableClock(LL_APB1_GRP1_PERIPH_USART2);

  LL_AHB2_GRP1_EnableClock(LL_AHB2_GRP1_PERIPH_GPIOA);
  /**USART2 GPIO Configuration
  PA2   ------> USART2_TX
  PA15 (JTDI)   ------> USART2_RX
  */
  GPIO_InitStruct.Pin = LL_GPIO_PIN_2;
  GPIO_InitStruct.Mode = LL_GPIO_MODE_ALTERNATE;
  GPIO_InitStruct.Speed = LL_GPIO_SPEED_FREQ_VERY_HIGH;
  GPIO_InitStruct.OutputType = LL_GPIO_OUTPUT_PUSHPULL;
  GPIO_InitStruct.Pull = LL_GPIO_PULL_NO;
  GPIO_InitStruct.Alternate = LL_GPIO_AF_7;
  LL_GPIO_Init(GPIOA, &GPIO_InitStruct);

  GPIO_InitStruct.Pin = LL_GPIO_PIN_15;
  GPIO_InitStruct.Mode = LL_GPIO_MODE_ALTERNATE;
  GPIO_InitStruct.Speed = LL_GPIO_SPEED_FREQ_VERY_HIGH;
  GPIO_InitStruct.OutputType = LL_GPIO_OUTPUT_PUSHPULL;
  GPIO_InitStruct.Pull = LL_GPIO_PULL_NO;
  GPIO_InitStruct.Alternate = LL_GPIO_AF_3;
  LL_GPIO_Init(GPIOA, &GPIO_InitStruct);

  /* USART2 DMA Init */

  /* USART2_RX Init */
  LL_DMA_SetPeriphRequest(DMA1, LL_DMA_CHANNEL_6, LL_DMA_REQUEST_2);

  LL_DMA_SetDataTransferDirection(DMA1, LL_DMA_CHANNEL_6, LL_DMA_DIRECTION_PERIPH_TO_MEMORY);

  LL_DMA_SetChannelPriorityLevel(DMA1, LL_DMA_CHANNEL_6, LL_DMA_PRIORITY_HIGH);

  LL_DMA_SetMode(DMA1, LL_DMA_CHANNEL_6, LL_DMA_MODE_CIRCULAR);

  LL_DMA_SetPeriphIncMode(DMA1, LL_DMA_CHANNEL_6, LL_DMA_PERIPH_NOINCREMENT);

  LL_DMA_SetMemoryIncMode(DMA1, LL_DMA_CHANNEL_6, LL_DMA_MEMORY_INCREMENT);

  LL_DMA_SetPeriphSize(DMA1, LL_DMA_CHANNEL_6, LL_DMA_PDATAALIGN_BYTE);

  LL_DMA_SetMemorySize(DMA1, LL_DMA_CHANNEL_6, LL_DMA_MDATAALIGN_BYTE);

  /* USART2_TX Init */
  LL_DMA_SetPeriphRequest(DMA1, LL_DMA_CHANNEL_7, LL_DMA_REQUEST_2);

  LL_DMA_SetDataTransferDirection(DMA1, LL_DMA_CHANNEL_7, LL_DMA_DIRECTION_MEMORY_TO_PERIPH);

  LL_DMA_SetChannelPriorityLevel(DMA1, LL_DMA_CHANNEL_7, LL_DMA_PRIORITY_MEDIUM);

  LL_DMA_SetMode(DMA1, LL_DMA_CHANNEL_7, LL_DMA_MODE_NORMAL);

  LL_DMA_SetPeriphIncMode(DMA1, LL_DMA_CHANNEL_7, LL_DMA_PERIPH_NOINCREMENT);

  LL_DMA_SetMemoryIncMode(DMA1, LL_DMA_CHANNEL_7, LL_DMA_MEMORY_INCREMENT);

  LL_DMA_SetPeriphSize(DMA1, LL_DMA_CHANNEL_7, LL_DMA_PDATAALIGN_BYTE);

  LL_DMA_SetMemorySize(DMA1, LL_DMA_CHANNEL_7, LL_DMA_MDATAALIGN_BYTE);

  /* USART2 interrupt Init */
  NVIC_SetPriority(USART2_IRQn, NVIC_EncodePriority(NVIC_GetPriorityGrouping(),5, 0));
  NVIC_EnableIRQ(USART2_IRQn);

  USART_InitStruct.BaudRate = 115200;
  USART_InitStruct.DataWidth = LL_USART_DATAWIDTH_8B;
  USART_InitStruct.StopBits = LL_USART_STOPBITS_1;
  USART_InitStruct.Parity = LL_USART_PARITY_NONE;
  USART_InitStruct.TransferDirection = LL_USART_DIRECTION_TX_RX;
  USART_InitStruct.HardwareFlowControl = LL_USART_HWCONTROL_NONE;
  USART_InitStruct.OverSampling = LL_USART_OVERSAMPLING_16;
  LL_USART_Init(USART2, &USART_InitStruct);
  LL_USART_ConfigAsyncMode(USART2);
  LL_USART_Enable(USART2);

}

static void MX_DMA_Init(void)
{

  /* Init with LL driver */
  /* DMA controller clock enable */
  LL_AHB1_GRP1_EnableClock(LL_AHB1_GRP1_PERIPH_DMA1);
  LL_AHB1_GRP1_EnableClock(LL_AHB1_GRP1_PERIPH_DMA2);

  /* DMA interrupt init */
  /* DMA1_Channel4_IRQn interrupt configuration */
  HAL_NVIC_SetPriority(DMA1_Channel4_IRQn, 0, 0);
  HAL_NVIC_EnableIRQ(DMA1_Channel4_IRQn);
  /* DMA1_Channel5_IRQn interrupt configuration */
  HAL_NVIC_SetPriority(DMA1_Channel5_IRQn, 0, 0);
  HAL_NVIC_EnableIRQ(DMA1_Channel5_IRQn);
  /* DMA1_Channel6_IRQn interrupt configuration */
  NVIC_SetPriority(DMA1_Channel6_IRQn, NVIC_EncodePriority(NVIC_GetPriorityGrouping(),5, 0));
  NVIC_EnableIRQ(DMA1_Channel6_IRQn);
  /* DMA1_Channel7_IRQn interrupt configuration */
  NVIC_SetPriority(DMA1_Channel7_IRQn, NVIC_EncodePriority(NVIC_GetPriorityGrouping(),5, 0));
  NVIC_EnableIRQ(DMA1_Channel7_IRQn);
  /* DMA2_Channel3_IRQn interrupt configuration */
  NVIC_SetPriority(DMA2_Channel3_IRQn, NVIC_EncodePriority(NVIC_GetPriorityGrouping(),5, 0));
  NVIC_EnableIRQ(DMA2_Channel3_IRQn);

}

static void MX_GPIO_Init(void)
{
  GPIO_InitTypeDef GPIO_InitStruct = {0};

  /* GPIO Ports Clock Enable */
  __HAL_RCC_GPIOC_CLK_ENABLE();
  __HAL_RCC_GPIOA_CLK_ENABLE();
  __HAL_RCC_GPIOB_CLK_ENABLE();

  /*Configure GPIO pin Output Level */
  HAL_GPIO_WritePin(CSM_1PPS_DIR_GPIO_Port, CSM_1PPS_DIR_Pin, GPIO_PIN_SET);

  /*Configure GPIO pin Output Level */
  HAL_GPIO_WritePin(GPIOB, LD3_Pin|SOM_SD_BOOT_EN_Pin, GPIO_PIN_RESET);

  /*Configure GPIO pin Output Level */
  HAL_GPIO_WritePin(SOM_SYS_RST_GPIO_Port, SOM_SYS_RST_Pin, GPIO_PIN_SET);

  /*Configure GPIO pin : CSM_1PPS_DIR_Pin */
  GPIO_InitStruct.Pin = CSM_1PPS_DIR_Pin;
  GPIO_InitStruct.Mode = GPIO_MODE_OUTPUT_PP;
  GPIO_InitStruct.Pull = GPIO_NOPULL;
  GPIO_InitStruct.Speed = GPIO_SPEED_FREQ_LOW;
  HAL_GPIO_Init(CSM_1PPS_DIR_GPIO_Port, &GPIO_InitStruct);

  /*Configure GPIO pin : POWER_EN_ZER_EN_N_Pin */
  GPIO_InitStruct.Pin = POWER_EN_ZER_EN_N_Pin;
  GPIO_InitStruct.Mode = GPIO_MODE_INPUT;
  GPIO_InitStruct.Pull = GPIO_NOPULL;
  HAL_GPIO_Init(POWER_EN_ZER_EN_N_GPIO_Port, &GPIO_InitStruct);

  /*Configure GPIO pin : XCHANGE_1PPS_Pin */
  GPIO_InitStruct.Pin = XCHANGE_1PPS_Pin;
  GPIO_InitStruct.Mode = GPIO_MODE_IT_RISING;
  GPIO_InitStruct.Pull = GPIO_NOPULL;
  HAL_GPIO_Init(XCHANGE_1PPS_GPIO_Port, &GPIO_InitStruct);

  /*Configure GPIO pins : XCHANGE_RESET_Pin PWR_BTN_N_Pin */
  GPIO_InitStruct.Pin = XCHANGE_RESET_Pin|PWR_BTN_N_Pin;
  GPIO_InitStruct.Mode = GPIO_MODE_INPUT;
  GPIO_InitStruct.Pull = GPIO_NOPULL;
  HAL_GPIO_Init(GPIOA, &GPIO_InitStruct);

  /*Configure GPIO pins : LD3_Pin SOM_SYS_RST_Pin SOM_SD_BOOT_EN_Pin */
  GPIO_InitStruct.Pin = LD3_Pin|SOM_SYS_RST_Pin|SOM_SD_BOOT_EN_Pin;
  GPIO_InitStruct.Mode = GPIO_MODE_OUTPUT_PP;
  GPIO_InitStruct.Pull = GPIO_NOPULL;
  GPIO_InitStruct.Speed = GPIO_SPEED_FREQ_LOW;
  HAL_GPIO_Init(GPIOB, &GPIO_InitStruct);

  /* EXTI interrupt init*/
  HAL_NVIC_SetPriority(EXTI9_5_IRQn, 5, 0);
  HAL_NVIC_EnableIRQ(EXTI9_5_IRQn);

}

void StartDefaultTask(void const * argument)
{
  for(;;)
  {
    osDelay(1);
  }
}

void HAL_TIM_PeriodElapsedCallback(TIM_HandleTypeDef *htim)
{
  if (htim->Instance == TIM15) {
    HAL_IncTick();
  }
}

void Error_Handler(void)
{
}

/************************ (C) COPYRIGHT STMicroelectronics *****END OF FILE****/
